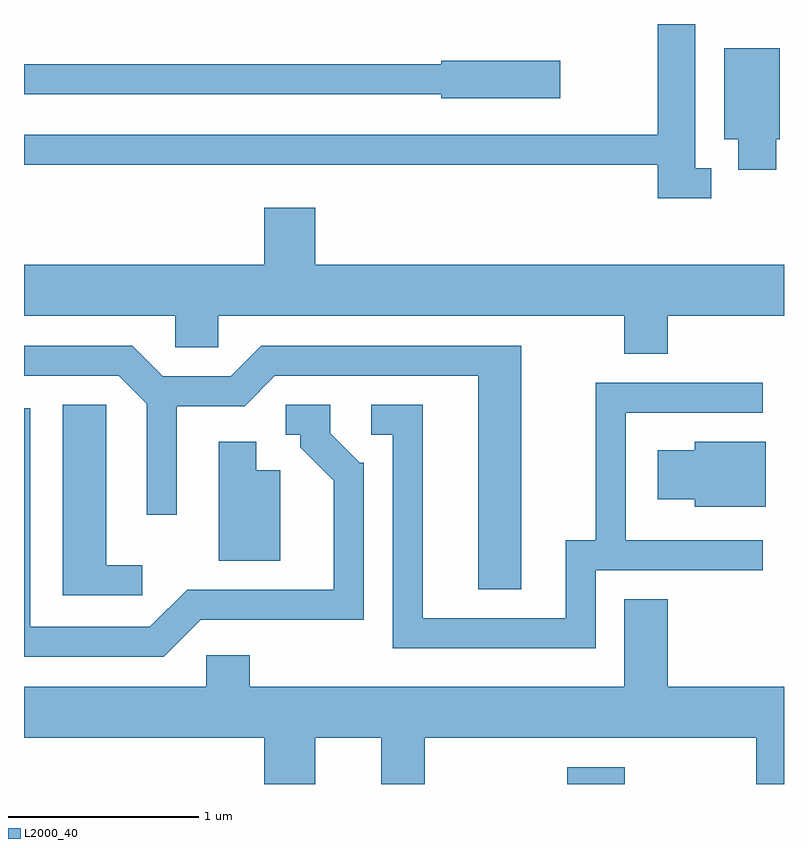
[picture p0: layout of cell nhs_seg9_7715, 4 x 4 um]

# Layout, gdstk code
import gdstk
lib = gdstk.Library(unit=1e-6, precision=1e-09)
def R(c, l, rs):  # rectangles x0, y0, x1, y1
    for r in rs: c.add(gdstk.rectangle(r[:2], r[2:], *l))
def P(c, l, *ps):  # polygons
    for p in ps: c.add(gdstk.Polygon(p, *l))
L2000_40 = (2000, 40)

nhs_seg9_7715 = lib.new_cell('nhs_seg9_7715')
R(nhs_seg9_7715, L2000_40, [(416.471,2020.432,416.774,2020.519)])
P(nhs_seg9_7715, L2000_40, [(417.228,2023.674),(417.144,2023.674),(417.144,2024.432),(416.946,2024.432),(416.946,2023.849),(413.611,2023.849),(413.611,2023.691),(416.946,2023.691),(416.946,2023.516),(417.228,2023.516)],
  [(417.569,2023.826),(417.589,2023.826),(417.589,2024.304),(417.296,2024.304),(417.296,2023.826),(417.371,2023.826),(417.371,2023.666),(417.569,2023.666)],
  [(416.434,2024.239),(415.806,2024.239),(415.806,2024.219),(413.611,2024.219),(413.611,2024.061),(415.806,2024.061),(415.806,2024.041),(416.434,2024.041)],
  [(416.999,2022.896),(417.611,2022.896),(417.611,2023.164),(415.144,2023.164),(415.144,2023.464),(414.876,2023.464),(414.876,2023.164),(413.611,2023.164),(413.611,2022.896),(414.406,2022.896),(414.406,2022.731),(414.634,2022.731),(414.634,2022.896),(416.771,2022.896),(416.771,2022.696),(416.999,2022.696)],
  [(416.229,2022.739),(414.859,2022.739),(414.699,2022.579),(414.342,2022.579),(414.182,2022.739),(413.611,2022.739),(413.611,2022.581),(414.109,2022.581),(414.256,2022.434),(414.256,2021.848),(414.414,2021.848),(414.414,2022.421),(414.772,2022.421),(414.932,2022.581),(416.001,2022.581),(416.001,2021.456),(416.229,2021.456)],
  [(416.619,2021.556),(417.498,2021.556),(417.498,2021.714),(416.779,2021.714),(416.779,2022.386),(417.498,2022.386),(417.498,2022.544),(416.621,2022.544),(416.621,2021.714),(416.461,2021.714),(416.461,2021.304),(415.709,2021.304),(415.709,2022.429),(415.438,2022.429),(415.438,2022.271),(415.551,2022.271),(415.551,2021.146),(416.619,2021.146)],
  [(414.233,2021.584),(414.044,2021.584),(414.044,2022.429),(413.816,2022.429),(413.816,2021.426),(414.233,2021.426)],
  [(414.542,2021.296),(415.399,2021.296),(415.399,2022.124),(415.377,2022.124),(415.224,2022.277),(415.224,2022.429),(414.988,2022.429),(414.988,2022.271),(415.066,2022.271),(415.066,2022.204),(415.241,2022.029),(415.241,2021.454),(414.469,2021.454),(414.274,2021.259),(413.644,2021.259),(413.644,2022.409),(413.611,2022.409),(413.611,2021.101),(414.347,2021.101)],
  [(417.514,2022.234),(417.141,2022.234),(417.141,2022.189),(416.946,2022.189),(416.946,2021.931),(417.141,2021.931),(417.141,2021.891),(417.514,2021.891)],
  [(414.959,2022.084),(414.834,2022.084),(414.834,2022.234),(414.636,2022.234),(414.636,2021.606),(414.959,2021.606)],
  [(415.144,2020.676),(415.491,2020.676),(415.491,2020.432),(415.719,2020.432),(415.719,2020.676),(417.466,2020.676),(417.466,2020.432),(417.611,2020.432),(417.611,2020.944),(416.999,2020.944),(416.999,2021.404),(416.771,2021.404),(416.771,2020.944),(414.799,2020.944),(414.799,2021.109),(414.571,2021.109),(414.571,2020.944),(413.611,2020.944),(413.611,2020.676),(414.876,2020.676),(414.876,2020.432),(415.144,2020.432)])

lib.write_gds('nhs_seg9_7715.gds')
